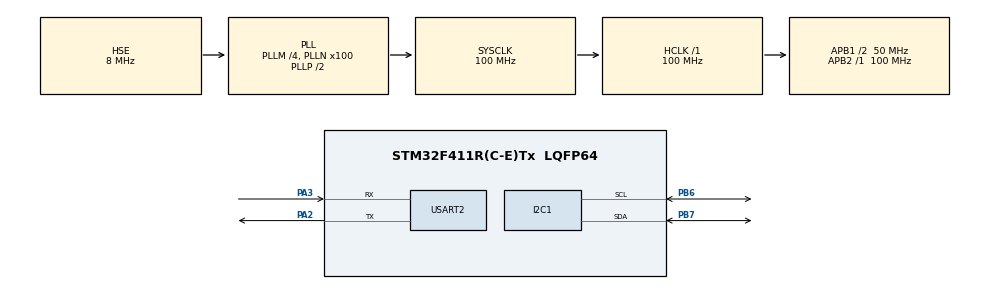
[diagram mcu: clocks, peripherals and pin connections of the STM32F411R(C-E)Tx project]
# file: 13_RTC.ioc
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Mcu.Family=STM32F4
Mcu.Name=STM32F411R(C-E)Tx
Mcu.Package=LQFP64
NVIC.PriorityGroup=NVIC_PRIORITYGROUP_4
NVIC.USART2_IRQn=true\:0\:0\:false\:false\:true\:true\:true\:true
PA13.Mode=Serial_Wire
PA13.Signal=SYS_JTMS-SWDIO
PA14.Mode=Serial_Wire
PA14.Signal=SYS_JTCK-SWCLK
PA2.Mode=Asynchronous
PA2.Signal=USART2_TX
PA3.Mode=Asynchronous
PA3.Signal=USART2_RX
PB6.Mode=I2C
PB6.Signal=I2C1_SCL
PB7.Mode=I2C
PB7.Signal=I2C1_SDA
PH0\ -\ OSC_IN.Mode=HSE-External-Oscillator
PH0\ -\ OSC_IN.Signal=RCC_OSC_IN
PH1\ -\ OSC_OUT.Mode=HSE-External-Oscillator
PH1\ -\ OSC_OUT.Signal=RCC_OSC_OUT
ProjectManager.HeapSize=0x200
ProjectManager.StackSize=0x400
ProjectManager.TargetToolchain=STM32CubeIDE
RCC.48MHZClocksFreq_Value=50000000
RCC.AHBFreq_Value=100000000
RCC.APB1CLKDivider=RCC_HCLK_DIV2
RCC.APB1Freq_Value=50000000
RCC.APB1TimFreq_Value=100000000
RCC.APB2Freq_Value=100000000
RCC.APB2TimFreq_Value=100000000
RCC.CortexFreq_Value=100000000
RCC.HCLKFreq_Value=100000000
RCC.HSE_VALUE=8000000
RCC.HSI_VALUE=16000000
RCC.LSE_VALUE=32768
RCC.PLLM=4
RCC.PLLN=100
RCC.PLLSourceVirtual=RCC_PLLSOURCE_HSE
RCC.SYSCLKFreq_VALUE=100000000
RCC.SYSCLKSource=RCC_SYSCLKSOURCE_PLLCLK
RCC.VCOOutputFreq_Value=200000000
USART2.VirtualMode=VM_ASYNC
VP_RTC_VS_RTC_Activate.Mode=RTC_Enabled
VP_RTC_VS_RTC_Calendar.Mode=RTC_Calendar
board=custom

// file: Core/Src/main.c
/* USER CODE BEGIN Header */
/**
  ******************************************************************************
  * @file           : main.c
  * @brief          : Main program body
  ******************************************************************************
  * @attention
  *
  * Copyright (c) 2025 STMicroelectronics.
  * All rights reserved.
  *
  * This software is licensed under terms that can be found in the LICENSE file
  * in the root directory of this software component.
  * If no LICENSE file comes with this software, it is provided AS-IS.
  *
  ******************************************************************************
  */
/* USER CODE END Header */
#include "main.h"
#include "i2c.h"
#include "rtc.h"
#include "usart.h"
#include "gpio.h"

/* USER CODE BEGIN Includes */

#include "stdio.h"
#include "string.h"
#include "i2c_led.h"

/* USER CODE END Includes */

/* USER CODE BEGIN PD */

#define BCD_TO_DEC(val) (((val >> 4) * 10) + (val & 0x0F))
#define DEC_TO_BCD(val) (((val / 10) << 4) | (val % 10))

/* USER CODE END PD */

/* USER CODE BEGIN PV */

RTC_TimeTypeDef rtcTime;
RTC_DateTypeDef rtcDate;

char temp[50];

uint8_t rxData;
uint8_t buffIndex = 0;
uint8_t buff[30];

/* USER CODE END PV */

void SystemClock_Config(void);
/* USER CODE BEGIN PFP */

void HAL_UART_RxCpltCallback(UART_HandleTypeDef *huart)
{
  if(huart->Instance == USART2)
  {
    if(rxData == '\n')  // 수신된 데이터가 \n 라면
    {
      buff[buffIndex] = 0;  // 널 문자 추가해서 문자열로 만듬
      char *ptr;

      if((ptr = strstr((char *)buff, "setTime")) != NULL)
      {
        // "setTime" 명령 다음의 숫자를 BCD 형태로 변환해서 시간 설정
        rtcTime.Hours   = ((*(ptr + 7) - '0') << 4) + (*(ptr + 8) - '0');   // Hour 설정
        rtcTime.Minutes = ((*(ptr + 9) - '0') << 4) + (*(ptr + 10) - '0');  // Minite 설정
        rtcTime.Seconds = ((*(ptr + 11) - '0') << 4) + (*(ptr + 12) - '0'); // Second 설정

        HAL_RTC_SetTime(&hrtc, &rtcTime, RTC_FORMAT_BCD);
      }
      else if((ptr = strstr((char *)buff, "setDate")) != NULL)
      {
        rtcDate.Year  = ((*(ptr + 7) - '0') << 4) + (*(ptr + 8) - '0');   // Year 설정
        rtcDate.Month = ((*(ptr + 9) - '0') << 4) + (*(ptr + 10) - '0');  // Month 설정
        rtcDate.Date  = ((*(ptr + 11) - '0') << 4) + (*(ptr + 12) - '0'); // Date 설정

        HAL_RTC_SetDate(&hrtc, &rtcDate, RTC_FORMAT_BCD);
      }
      buffIndex = 0;
    }
    else
    {
      // 수신된 데이터가 \n 아니면
      if(buffIndex < 30)
      {
        buff[buffIndex++] = rxData; // 버퍼에 데이터 추가
      }
    }

    HAL_UART_Receive_IT(&huart2, &rxData, 1);
  }
}

/* USER CODE END PFP */

int main(void)
{

  /* MCU Configuration--------------------------------------------------------*/

  /* Reset of all peripherals, Initializes the Flash interface and the Systick. */
  HAL_Init();

  /* Configure the system clock */
  SystemClock_Config();

  /* Initialize all configured peripherals */
  MX_GPIO_Init();
  MX_RTC_Init();
  MX_USART2_UART_Init();
  MX_I2C1_Init();
  /* USER CODE BEGIN 2 */

  HAL_UART_Receive_IT(&huart2, &rxData, 1);

  i2c_lcd_init();

  move_cursor(0, 0);
  lcd_string("hello STM");
  move_cursor(1,0);
  lcd_string("GOOD");

  /* USER CODE END 2 */

  /* Infinite loop */
  /* USER CODE BEGIN WHILE */
  while (1)
  {

    HAL_RTC_GetTime(&hrtc, &rtcTime, RTC_FORMAT_BCD);
    HAL_RTC_GetDate(&hrtc, &rtcDate, RTC_FORMAT_BCD);

    sprintf(temp, "\r\n20%02x-%02x-%02x %02x:%02x:%02x",
            rtcDate.Year, rtcDate.Month, rtcDate.Date,
            rtcTime.Hours, rtcTime.Minutes, rtcTime.Seconds);

    HAL_UART_Transmit(&huart2, (uint8_t *)temp, strlen(temp), 10);

    HAL_Delay(250);

    /* USER CODE END WHILE */

  }
}

void SystemClock_Config(void)
{
  RCC_OscInitTypeDef RCC_OscInitStruct = {0};
  RCC_ClkInitTypeDef RCC_ClkInitStruct = {0};

  /** Configure the main internal regulator output voltage
  */
  __HAL_RCC_PWR_CLK_ENABLE();
  __HAL_PWR_VOLTAGESCALING_CONFIG(PWR_REGULATOR_VOLTAGE_SCALE1);

  /** Initializes the RCC Oscillators according to the specified parameters
  * in the RCC_OscInitTypeDef structure.
  */
  RCC_OscInitStruct.OscillatorType = RCC_OSCILLATORTYPE_LSI|RCC_OSCILLATORTYPE_HSE;
  RCC_OscInitStruct.HSEState = RCC_HSE_ON;
  RCC_OscInitStruct.LSIState = RCC_LSI_ON;
  RCC_OscInitStruct.PLL.PLLState = RCC_PLL_ON;
  RCC_OscInitStruct.PLL.PLLSource = RCC_PLLSOURCE_HSE;
  RCC_OscInitStruct.PLL.PLLM = 4;
  RCC_OscInitStruct.PLL.PLLN = 100;
  RCC_OscInitStruct.PLL.PLLP = RCC_PLLP_DIV2;
  RCC_OscInitStruct.PLL.PLLQ = 4;
  if (HAL_RCC_OscConfig(&RCC_OscInitStruct) != HAL_OK)
  {
    Error_Handler();
  }

  /** Initializes the CPU, AHB and APB buses clocks
  */
  RCC_ClkInitStruct.ClockType = RCC_CLOCKTYPE_HCLK|RCC_CLOCKTYPE_SYSCLK
                              |RCC_CLOCKTYPE_PCLK1|RCC_CLOCKTYPE_PCLK2;
  RCC_ClkInitStruct.SYSCLKSource = RCC_SYSCLKSOURCE_PLLCLK;
  RCC_ClkInitStruct.AHBCLKDivider = RCC_SYSCLK_DIV1;
  RCC_ClkInitStruct.APB1CLKDivider = RCC_HCLK_DIV2;
  RCC_ClkInitStruct.APB2CLKDivider = RCC_HCLK_DIV1;

  if (HAL_RCC_ClockConfig(&RCC_ClkInitStruct, FLASH_LATENCY_3) != HAL_OK)
  {
    Error_Handler();
  }
}

void Error_Handler(void)
{
  __disable_irq();
  while (1)
  {
  }
}
